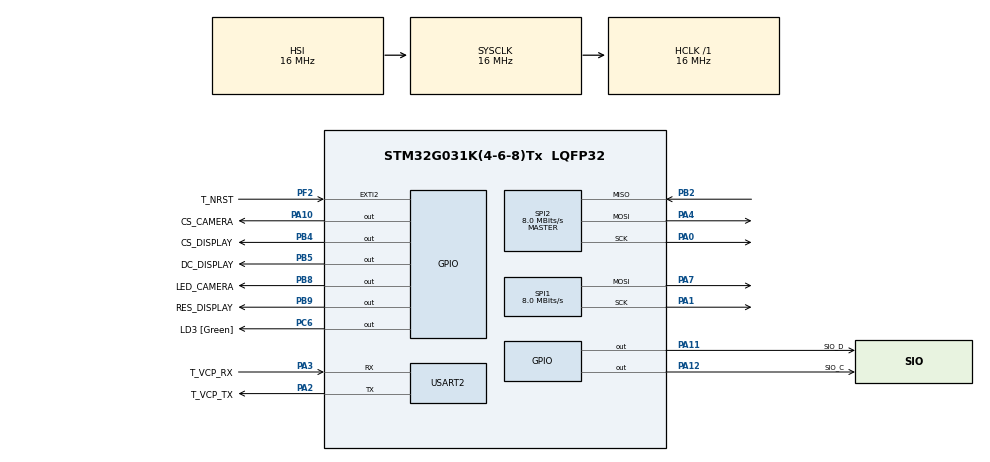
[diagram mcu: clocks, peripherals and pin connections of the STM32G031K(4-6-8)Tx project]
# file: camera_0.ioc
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Dma.Request0=SPI2_RX
Dma.SPI2_RX.0.Direction=DMA_PERIPH_TO_MEMORY
Dma.SPI2_RX.0.EventEnable=DISABLE
Dma.SPI2_RX.0.Instance=DMA1_Channel1
Dma.SPI2_RX.0.MemDataAlignment=DMA_MDATAALIGN_BYTE
Dma.SPI2_RX.0.MemInc=DMA_MINC_ENABLE
Dma.SPI2_RX.0.Mode=DMA_NORMAL
Dma.SPI2_RX.0.PeriphDataAlignment=DMA_PDATAALIGN_BYTE
Dma.SPI2_RX.0.PeriphInc=DMA_PINC_DISABLE
Dma.SPI2_RX.0.Polarity=HAL_DMAMUX_REQ_GEN_RISING
Dma.SPI2_RX.0.Priority=DMA_PRIORITY_HIGH
Dma.SPI2_RX.0.RequestNumber=1
Dma.SPI2_RX.0.SignalID=NONE
Dma.SPI2_RX.0.SyncEnable=DISABLE
Dma.SPI2_RX.0.SyncPolarity=HAL_DMAMUX_SYNC_NO_EVENT
Dma.SPI2_RX.0.SyncRequestNumber=1
Dma.SPI2_RX.0.SyncSignalID=NONE
Mcu.Family=STM32G0
Mcu.Name=STM32G031K(4-6-8)Tx
Mcu.Package=LQFP32
NVIC.DMA1_Channel1_IRQn=true\:0\:0\:false\:false\:true\:false\:true\:true
NVIC.SPI1_IRQn=true\:0\:0\:false\:false\:true\:true\:true\:true
NVIC.SPI2_IRQn=true\:0\:0\:false\:false\:true\:true\:true\:true
PA0.Mode=Full_Duplex_Master
PA0.Signal=SPI2_SCK
PA1.Mode=TX_Only_Simplex_Unidirect_Master
PA1.Signal=SPI1_SCK
PA10.GPIO_Label=CS_CAMERA
PA10.Signal=GPIO_Output
PA11\ [PA9].GPIO_Label=SIO_D
PA11\ [PA9].GPIO_Speed=GPIO_SPEED_FREQ_VERY_HIGH
PA11\ [PA9].Signal=GPIO_Output
PA12\ [PA10].GPIO_Label=SIO_C
PA12\ [PA10].GPIO_Speed=GPIO_SPEED_FREQ_VERY_HIGH
PA12\ [PA10].Signal=GPIO_Output
PA13.GPIO_Label=T_JTMS
PA13.Mode=Serial_Wire
PA13.Signal=SYS_SWDIO
PA14-BOOT0.GPIO_Label=T_JTCK
PA14-BOOT0.Mode=Serial_Wire
PA14-BOOT0.Signal=SYS_SWCLK
PA2.GPIO_Label=T_VCP_TX
PA2.GPIO_PuPd=GPIO_PULLUP
PA2.Mode=Asynchronous
PA2.Signal=USART2_TX
PA3.GPIO_Label=T_VCP_RX
PA3.GPIO_PuPd=GPIO_PULLUP
PA3.Mode=Asynchronous
PA3.Signal=USART2_RX
PA4.Mode=Full_Duplex_Master
PA4.Signal=SPI2_MOSI
PA7.Mode=TX_Only_Simplex_Unidirect_Master
PA7.Signal=SPI1_MOSI
PB2.Mode=Full_Duplex_Master
PB2.Signal=SPI2_MISO
PB4.GPIO_Label=CS_DISPLAY
PB4.PinState=GPIO_PIN_SET
PB4.Signal=GPIO_Output
PB5.GPIO_Label=DC_DISPLAY
PB5.Signal=GPIO_Output
PB8.GPIO_Label=LED_CAMERA
PB8.Signal=GPIO_Output
PB9.GPIO_Label=RES_DISPLAY
PB9.Signal=GPIO_Output
PC14-OSC32_IN\ (PC14).Mode=LSE-External-Oscillator
PC14-OSC32_IN\ (PC14).Signal=RCC_OSC32_IN
PC15-OSC32_OUT\ (PC15).Mode=LSE-External-Oscillator
PC15-OSC32_OUT\ (PC15).Signal=RCC_OSC32_OUT
PC6.GPIO_Label=LD3 [Green]
PC6.Signal=GPIO_Output
PF2\ -\ NRST.GPIO_Label=T_NRST
PF2\ -\ NRST.Signal=GPXTI2
ProjectManager.HeapSize=0x200
ProjectManager.StackSize=0x400
ProjectManager.TargetToolchain=STM32CubeIDE
RCC.AHBFreq_Value=16000000
RCC.CortexFreq_Value=16000000
RCC.EXTERNAL_CLOCK_VALUE=12288000
RCC.HCLKFreq_Value=16000000
RCC.HSE_VALUE=8000000
RCC.HSI_VALUE=16000000
RCC.PLLQ=RCC_PLLQ_DIV4
RCC.SYSCLKFreq_VALUE=16000000
RCC.VCOOutputFreq_Value=128000000
SPI1.CalculateBaudRate=8.0 MBits/s
SPI1.Direction=SPI_DIRECTION_2LINES
SPI1.Mode=SPI_MODE_MASTER
SPI1.VirtualType=VM_MASTER
SPI2.CalculateBaudRate=8.0 MBits/s
SPI2.Direction=SPI_DIRECTION_2LINES
SPI2.Mode=SPI_MODE_MASTER
SPI2.VirtualType=VM_MASTER
TIM1.Prescaler=16- 1
USART2.VirtualMode-Asynchronous=VM_ASYNC
USART2.WordLength=WORDLENGTH_8B
VP_TIM1_VS_ClockSourceINT.Mode=Internal
board=NUCLEO-G031K8

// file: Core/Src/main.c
/* USER CODE BEGIN Header */
/**
  ******************************************************************************
  * @file           : main.c
  * @brief          : Main program body
  ******************************************************************************
  * @attention
  *
  * Copyright (c) 2026 STMicroelectronics.
  * All rights reserved.
  *
  * This software is licensed under terms that can be found in the LICENSE file
  * in the root directory of this software component.
  * If no LICENSE file comes with this software, it is provided AS-IS.
  *
  ******************************************************************************
  */
/* USER CODE END Header */
#include "main.h"

/* USER CODE BEGIN Includes */

#include <stdio.h>

#include "ArduCAM.h"
#include "spi.h"
#include "delay.h"
#include "sccb_bus.h"

#include "SSD1331.h"

/* USER CODE END Includes */

SPI_HandleTypeDef hspi1;
SPI_HandleTypeDef hspi2;
DMA_HandleTypeDef hdma_spi2_rx;

TIM_HandleTypeDef htim1;

UART_HandleTypeDef huart2;

/* USER CODE BEGIN PV */

int _write(int file, char *ptr, int len)
{
    HAL_UART_Transmit(&huart2, (uint8_t *)ptr, len, HAL_MAX_DELAY);
    return len;
}

SPI_HandleTypeDef* camera_spi = &hspi2;

#define BUFFER_SIZE_120_160 19200
#define BUFFER_SMALL 4096

uint8_t image_buffer[BUFFER_SMALL] = {0};

/* USER CODE END PV */

void SystemClock_Config(void);
static void MX_GPIO_Init(void);
static void MX_DMA_Init(void);
static void MX_USART2_UART_Init(void);
static void MX_SPI1_Init(void);
static void MX_SPI2_Init(void);
static void MX_TIM1_Init(void);

/* USER CODE BEGIN 0 */

extern uint8_t* picbuf;

void HAL_SPI_RxCpltCallback(SPI_HandleTypeDef * hspi)
{
	if (hspi != camera_spi) return;

	SSD1331_Draw_Whole_Image(&hspi1, image_buffer);
    // RX Done .. Do Something ...
}

void CAMERA_SPI_Polling_Rcv_CB(uint8_t byte, uint32_t n)
{
	image_buffer[n % BUFFER_SMALL] = byte;
}

/* USER CODE END 0 */

int main(void)
{

  /* MCU Configuration--------------------------------------------------------*/

  /* Reset of all peripherals, Initializes the Flash interface and the Systick. */
  HAL_Init();

  /* Configure the system clock */
  SystemClock_Config();

  /* Initialize all configured peripherals */
  MX_GPIO_Init();
  MX_DMA_Init();
  MX_USART2_UART_Init();
  MX_SPI1_Init();
  MX_SPI2_Init();
  MX_TIM1_Init();
  /* USER CODE BEGIN 2 */

	uint8_t vid, pid, temp ;

	HAL_TIM_Base_Start(&htim1);  // start the Timer1

//	SystemInit();
	delay_init();
	ArduCAM_LED_init();
	ArduCAM_CS_init();
	sccb_bus_init();

	SSD1331_Initialize(&hspi1);

	while(1)
	{
		write_reg(ARDUCHIP_TEST1, 0x55);
		temp = read_reg(ARDUCHIP_TEST1);
		if (temp != 0x55)
		{
			delay_ms(1000);

			printf("ACK CMD SPI interface Error!r\n");

			continue;
		}
		else
		{
			break;
			printf("ACK CMD SPI interface OK!\r\n");
		}
	}

	 while(1)
	{
		sensor_addr = 0x60;
		wrSensorReg8_8(0xff, 0x01);
		rdSensorReg8_8(OV2640_CHIPID_HIGH, &vid);
		rdSensorReg8_8(OV2640_CHIPID_LOW, &pid);
		if ((vid != 0x26 ) && (( pid != 0x41 ) || ( pid != 0x42 )))
			printf("ACK CMD Can't find OV2640 module! got vid: %#x, pid: %#x\r\n", vid, pid);
		else
		{
		  sensor_model =  OV2640 ;
		  printf("ACK CMD OV2640 detected.\r\n");
		  break;
		}
		sensor_addr = 0x78;
		rdSensorReg16_8(OV5640_CHIPID_HIGH, &vid);
		rdSensorReg16_8(OV5640_CHIPID_LOW, &pid);
		if ((vid != 0x56) || (pid != 0x40))
			printf("ACK CMD Can't find OV5640 module! got vid: %#x, pid: %#x\r\n", vid, pid);
		else
		{
			sensor_model =  OV5640 ;
			printf("ACK CMD OV5640 detected.\r\n");
		  break;
		}
		sensor_addr = 0x78;
		rdSensorReg16_8(OV5642_CHIPID_HIGH, &vid);
		rdSensorReg16_8(OV5642_CHIPID_LOW, &pid);
		if ((vid != 0x56) || (pid != 0x42))
		{
			printf("ACK CMD Can't find OV5642 module! got vid: %#x, pid: %#x\r\n", vid, pid);
		}
		else
		{
		 sensor_model =  OV5642 ;
		 printf("ACK CMD OV5642 detected.\r\n");
		 break;
		}

		delay_ms(100);
	};

	ArduCAM_Init(sensor_model);

  /* USER CODE END 2 */

  /* Infinite loop */
  /* USER CODE BEGIN WHILE */
  while (1)
  {
	if (sensor_model == OV2640)
	{
		OV2640_set_JPEG_size(OV2640_160x120);
		printf("ACK CMD switch to OV2640_160x120\r\n");
	}
	else if(sensor_model == OV5640)
	{
		OV5640_set_JPEG_size(OV5640_320x240);
		printf("ACK CMD switch to OV5640_320x240\r\n");
	}
	else if(sensor_model == OV5642)
	{
		OV5642_set_JPEG_size(OV5642_320x240);
		printf("ACK CMD switch to OV5642_320x240\r\n");
	}

//	SingleCapTransfer(image_buffer, BUFFER_SMALL);

	SingleCapTransferPolling(&CAMERA_SPI_Polling_Rcv_CB);

	SSD1331_Draw_Whole_Image(&hspi1, image_buffer);

	HAL_GPIO_TogglePin(LD3_GPIO_Port, LD3_Pin);

	delay_ms(1000);

	printf("test 123\r\n");

//	HAL_GPIO_TogglePin(GPIOA, GPIO_PIN_8, GPIO_PIN_RESET);

    /* USER CODE END WHILE */

  }
}

void SystemClock_Config(void)
{
  RCC_OscInitTypeDef RCC_OscInitStruct = {0};
  RCC_ClkInitTypeDef RCC_ClkInitStruct = {0};

  /** Configure the main internal regulator output voltage
  */
  HAL_PWREx_ControlVoltageScaling(PWR_REGULATOR_VOLTAGE_SCALE1);

  /** Initializes the RCC Oscillators according to the specified parameters
  * in the RCC_OscInitTypeDef structure.
  */
  RCC_OscInitStruct.OscillatorType = RCC_OSCILLATORTYPE_HSI;
  RCC_OscInitStruct.HSIState = RCC_HSI_ON;
  RCC_OscInitStruct.HSIDiv = RCC_HSI_DIV1;
  RCC_OscInitStruct.HSICalibrationValue = RCC_HSICALIBRATION_DEFAULT;
  RCC_OscInitStruct.PLL.PLLState = RCC_PLL_NONE;
  if (HAL_RCC_OscConfig(&RCC_OscInitStruct) != HAL_OK)
  {
    Error_Handler();
  }

  /** Initializes the CPU, AHB and APB buses clocks
  */
  RCC_ClkInitStruct.ClockType = RCC_CLOCKTYPE_HCLK|RCC_CLOCKTYPE_SYSCLK
                              |RCC_CLOCKTYPE_PCLK1;
  RCC_ClkInitStruct.SYSCLKSource = RCC_SYSCLKSOURCE_HSI;
  RCC_ClkInitStruct.AHBCLKDivider = RCC_SYSCLK_DIV1;
  RCC_ClkInitStruct.APB1CLKDivider = RCC_HCLK_DIV1;

  if (HAL_RCC_ClockConfig(&RCC_ClkInitStruct, FLASH_LATENCY_0) != HAL_OK)
  {
    Error_Handler();
  }
}

static void MX_SPI1_Init(void)
{

  /* SPI1 parameter configuration*/
  hspi1.Instance = SPI1;
  hspi1.Init.Mode = SPI_MODE_MASTER;
  hspi1.Init.Direction = SPI_DIRECTION_2LINES;
  hspi1.Init.DataSize = SPI_DATASIZE_8BIT;
  hspi1.Init.CLKPolarity = SPI_POLARITY_LOW;
  hspi1.Init.CLKPhase = SPI_PHASE_1EDGE;
  hspi1.Init.NSS = SPI_NSS_SOFT;
  hspi1.Init.BaudRatePrescaler = SPI_BAUDRATEPRESCALER_2;
  hspi1.Init.FirstBit = SPI_FIRSTBIT_MSB;
  hspi1.Init.TIMode = SPI_TIMODE_DISABLE;
  hspi1.Init.CRCCalculation = SPI_CRCCALCULATION_DISABLE;
  hspi1.Init.CRCPolynomial = 7;
  hspi1.Init.CRCLength = SPI_CRC_LENGTH_DATASIZE;
  hspi1.Init.NSSPMode = SPI_NSS_PULSE_ENABLE;
  if (HAL_SPI_Init(&hspi1) != HAL_OK)
  {
    Error_Handler();
  }

}

static void MX_SPI2_Init(void)
{

  /* SPI2 parameter configuration*/
  hspi2.Instance = SPI2;
  hspi2.Init.Mode = SPI_MODE_MASTER;
  hspi2.Init.Direction = SPI_DIRECTION_2LINES;
  hspi2.Init.DataSize = SPI_DATASIZE_8BIT;
  hspi2.Init.CLKPolarity = SPI_POLARITY_LOW;
  hspi2.Init.CLKPhase = SPI_PHASE_1EDGE;
  hspi2.Init.NSS = SPI_NSS_SOFT;
  hspi2.Init.BaudRatePrescaler = SPI_BAUDRATEPRESCALER_2;
  hspi2.Init.FirstBit = SPI_FIRSTBIT_MSB;
  hspi2.Init.TIMode = SPI_TIMODE_DISABLE;
  hspi2.Init.CRCCalculation = SPI_CRCCALCULATION_DISABLE;
  hspi2.Init.CRCPolynomial = 7;
  hspi2.Init.CRCLength = SPI_CRC_LENGTH_DATASIZE;
  hspi2.Init.NSSPMode = SPI_NSS_PULSE_ENABLE;
  if (HAL_SPI_Init(&hspi2) != HAL_OK)
  {
    Error_Handler();
  }

}

static void MX_TIM1_Init(void)
{

  TIM_ClockConfigTypeDef sClockSourceConfig = {0};
  TIM_MasterConfigTypeDef sMasterConfig = {0};

  htim1.Instance = TIM1;
  htim1.Init.Prescaler = 16- 1;
  htim1.Init.CounterMode = TIM_COUNTERMODE_UP;
  htim1.Init.Period = 65535;
  htim1.Init.ClockDivision = TIM_CLOCKDIVISION_DIV1;
  htim1.Init.RepetitionCounter = 0;
  htim1.Init.AutoReloadPreload = TIM_AUTORELOAD_PRELOAD_DISABLE;
  if (HAL_TIM_Base_Init(&htim1) != HAL_OK)
  {
    Error_Handler();
  }
  sClockSourceConfig.ClockSource = TIM_CLOCKSOURCE_INTERNAL;
  if (HAL_TIM_ConfigClockSource(&htim1, &sClockSourceConfig) != HAL_OK)
  {
    Error_Handler();
  }
  sMasterConfig.MasterOutputTrigger = TIM_TRGO_RESET;
  sMasterConfig.MasterOutputTrigger2 = TIM_TRGO2_RESET;
  sMasterConfig.MasterSlaveMode = TIM_MASTERSLAVEMODE_DISABLE;
  if (HAL_TIMEx_MasterConfigSynchronization(&htim1, &sMasterConfig) != HAL_OK)
  {
    Error_Handler();
  }

}

static void MX_USART2_UART_Init(void)
{

  huart2.Instance = USART2;
  huart2.Init.BaudRate = 115200;
  huart2.Init.WordLength = UART_WORDLENGTH_8B;
  huart2.Init.StopBits = UART_STOPBITS_1;
  huart2.Init.Parity = UART_PARITY_NONE;
  huart2.Init.Mode = UART_MODE_TX_RX;
  huart2.Init.HwFlowCtl = UART_HWCONTROL_NONE;
  huart2.Init.OverSampling = UART_OVERSAMPLING_16;
  huart2.Init.OneBitSampling = UART_ONE_BIT_SAMPLE_DISABLE;
  huart2.Init.ClockPrescaler = UART_PRESCALER_DIV1;
  huart2.AdvancedInit.AdvFeatureInit = UART_ADVFEATURE_NO_INIT;
  if (HAL_UART_Init(&huart2) != HAL_OK)
  {
    Error_Handler();
  }

}

static void MX_DMA_Init(void)
{

  /* DMA controller clock enable */
  __HAL_RCC_DMA1_CLK_ENABLE();

  /* DMA interrupt init */
  /* DMA1_Channel1_IRQn interrupt configuration */
  HAL_NVIC_SetPriority(DMA1_Channel1_IRQn, 0, 0);
  HAL_NVIC_EnableIRQ(DMA1_Channel1_IRQn);

}

static void MX_GPIO_Init(void)
{
  GPIO_InitTypeDef GPIO_InitStruct = {0};

  /* GPIO Ports Clock Enable */
  __HAL_RCC_GPIOB_CLK_ENABLE();
  __HAL_RCC_GPIOC_CLK_ENABLE();
  __HAL_RCC_GPIOF_CLK_ENABLE();
  __HAL_RCC_GPIOA_CLK_ENABLE();

  /*Configure GPIO pin Output Level */
  HAL_GPIO_WritePin(GPIOB, RES_DISPLAY_Pin|DC_DISPLAY_Pin|LED_CAMERA_Pin, GPIO_PIN_RESET);

  /*Configure GPIO pin Output Level */
  HAL_GPIO_WritePin(LD3_GPIO_Port, LD3_Pin, GPIO_PIN_RESET);

  /*Configure GPIO pin Output Level */
  HAL_GPIO_WritePin(GPIOA, CS_CAMERA_Pin|SIO_D_Pin|SIO_C_Pin, GPIO_PIN_RESET);

  /*Configure GPIO pin Output Level */
  HAL_GPIO_WritePin(CS_DISPLAY_GPIO_Port, CS_DISPLAY_Pin, GPIO_PIN_SET);

  /*Configure GPIO pins : RES_DISPLAY_Pin CS_DISPLAY_Pin DC_DISPLAY_Pin LED_CAMERA_Pin */
  GPIO_InitStruct.Pin = RES_DISPLAY_Pin|CS_DISPLAY_Pin|DC_DISPLAY_Pin|LED_CAMERA_Pin;
  GPIO_InitStruct.Mode = GPIO_MODE_OUTPUT_PP;
  GPIO_InitStruct.Pull = GPIO_NOPULL;
  GPIO_InitStruct.Speed = GPIO_SPEED_FREQ_LOW;
  HAL_GPIO_Init(GPIOB, &GPIO_InitStruct);

  /*Configure GPIO pin : T_NRST_Pin */
  GPIO_InitStruct.Pin = T_NRST_Pin;
  GPIO_InitStruct.Mode = GPIO_MODE_IT_RISING;
  GPIO_InitStruct.Pull = GPIO_NOPULL;
  HAL_GPIO_Init(T_NRST_GPIO_Port, &GPIO_InitStruct);

  /*Configure GPIO pin : LD3_Pin */
  GPIO_InitStruct.Pin = LD3_Pin;
  GPIO_InitStruct.Mode = GPIO_MODE_OUTPUT_PP;
  GPIO_InitStruct.Pull = GPIO_NOPULL;
  GPIO_InitStruct.Speed = GPIO_SPEED_FREQ_LOW;
  HAL_GPIO_Init(LD3_GPIO_Port, &GPIO_InitStruct);

  /*Configure GPIO pin : CS_CAMERA_Pin */
  GPIO_InitStruct.Pin = CS_CAMERA_Pin;
  GPIO_InitStruct.Mode = GPIO_MODE_OUTPUT_PP;
  GPIO_InitStruct.Pull = GPIO_NOPULL;
  GPIO_InitStruct.Speed = GPIO_SPEED_FREQ_LOW;
  HAL_GPIO_Init(CS_CAMERA_GPIO_Port, &GPIO_InitStruct);

  /*Configure GPIO pins : SIO_D_Pin SIO_C_Pin */
  GPIO_InitStruct.Pin = SIO_D_Pin|SIO_C_Pin;
  GPIO_InitStruct.Mode = GPIO_MODE_OUTPUT_PP;
  GPIO_InitStruct.Pull = GPIO_NOPULL;
  GPIO_InitStruct.Speed = GPIO_SPEED_FREQ_VERY_HIGH;
  HAL_GPIO_Init(GPIOA, &GPIO_InitStruct);

}

void Error_Handler(void)
{
  __disable_irq();
  while (1)
  {
  }
}
